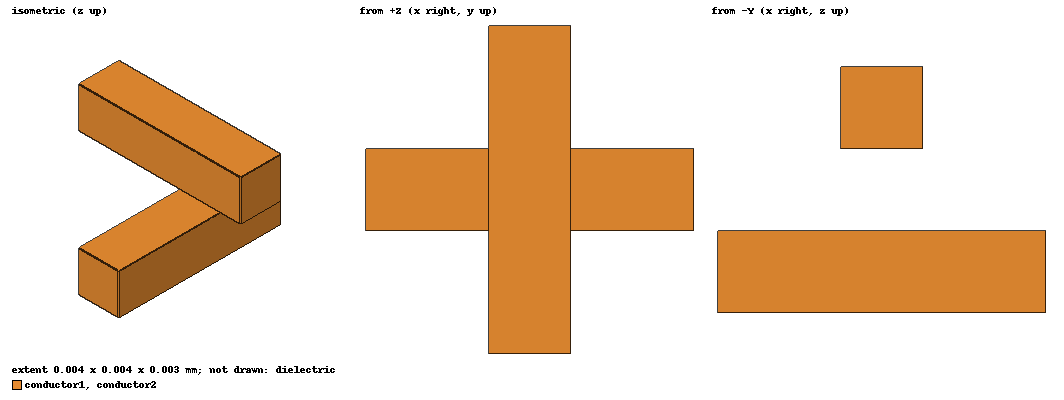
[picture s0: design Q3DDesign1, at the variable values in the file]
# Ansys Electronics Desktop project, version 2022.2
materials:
  vacuum: permittivity=1
  copper: permeability=0.999991 conductivity=58000000

design Q3DDesign1 (Q3D Extractor, model units mm)
options: SParamCalcMethod=EqTransLine Calculate_Lossy_Dielectrics
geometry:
  conductor1 [copper] = box(corner=(-2um, -0.5um, 1um), size=(4um, 1um, 1um))
  conductor2 [copper] = box(corner=(-0.5um, -2um, 3um), size=(1um, 4um, 1um))
  dielectric [vacuum] = box(corner=(-20um, -20um, 0um), size=(40um, 40um, 10um))
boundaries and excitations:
  conductor1: SignalNet Objects=conductor1
  conductor2: SignalNet Objects=conductor2
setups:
  Setup1: Matrix AdaptiveFreq=1GHz Cap{MaxPass=10 MinPass=1 MinConvPass=1 PerError=1 PerRefine=30 AutoIncreaseSolutionOrder SolutionOrder=High Solver_Type=Iterative} ErrorValue=0.1
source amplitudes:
  conductor1: Cap 1V 0deg
  conductor2: Cap 0V 0deg
